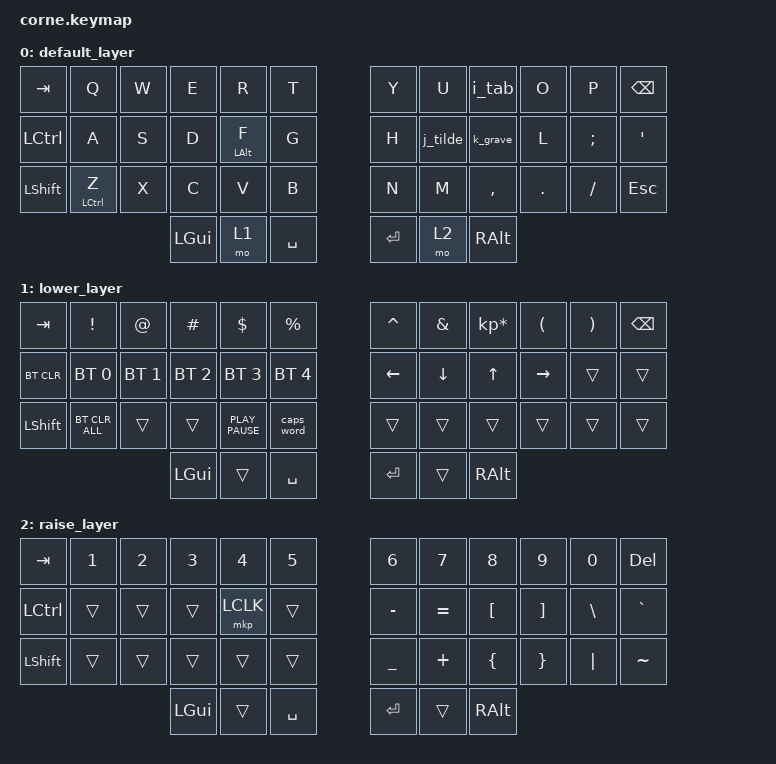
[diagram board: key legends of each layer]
/*
 * Copyright (c) 2020 The ZMK Contributors
 *
 * SPDX-License-Identifier: MIT
 */

#include <behaviors.dtsi>
#include <dt-bindings/zmk/bt.h>
#include <dt-bindings/zmk/keys.h>
#include <dt-bindings/zmk/pointing.h>

/ {
    behaviors {
        CtrlZ: CtrlZ {
            compatible = "zmk,behavior-hold-tap";
            label = "CTRLZ";
            bindings = <&kp>, <&kp>;

            #binding-cells = <2>;
            tapping-term-ms = <175>;
            flavor = "tap-preferred";
        };

        AltF: AltF {
            compatible = "zmk,behavior-hold-tap";
            label = "ALTF";
            bindings = <&kp>, <&kp>;

            #binding-cells = <2>;
            tapping-term-ms = <175>;
            flavor = "tap-preferred";
        };

        j_tilde: j_tilde {
            compatible = "zmk,behavior-mod-morph";
            #binding-cells = <0>;
            bindings = <&kp J>, <&kp TILDE>;

            mods = <(MOD_LALT)>;
            keep-mods = <(MOD_LALT)>;
        };

        i_tab: i_tab {
            compatible = "zmk,behavior-mod-morph";
            #binding-cells = <0>;
            bindings = <&kp I>, <&kp TAB>;

            mods = <(MOD_LALT)>;
            keep-mods = <(MOD_LALT)>;
            label = "I_TAB";
        };

        k_grave: k_grave {
            compatible = "zmk,behavior-mod-morph";
            #binding-cells = <0>;
            bindings = <&kp K>, <&kp GRAVE>;

            label = "K_GRAVE";
            mods = <(MOD_LALT)>;
            keep-mods = <(MOD_LALT)>;
        };
    };

    combos {
        compatible = "zmk,combos";

        AltCtrlDel {
            bindings = <&kp LA(LC(DEL))>;
            key-positions = <41 40 39>;
        };
    };

    keymap {
        compatible = "zmk,keymap";

        default_layer {
            // -----------------------------------------------------------------------------------------
            // |  TAB |  Q  |  W  |  E  |  R  |  T  |   |  Y  |  U   |  I  |  O  |  P  | BKSP |
            // | CTRL |  A  |  S  |  D  |  F  |  G  |   |  H  |  J   |  K  |  L  |  ;  |  '   |
            // | SHFT |  Z  |  X  |  C  |  V  |  B  |   |  N  |  M   |  ,  |  .  |  /  | ESC  |
            //                    | GUI | LWR | SPC |   | ENT | RSE  | ALT |

            bindings = <
&kp TAB    &kp Q           &kp W  &kp E     &kp R             &kp T        &kp Y    &kp U     &i_tab     &kp O    &kp P     &kp BSPC
&kp LCTRL  &kp A           &kp S  &kp D     &AltF LEFT_ALT F  &kp G        &kp H    &j_tilde  &k_grave   &kp L    &kp SEMI  &kp SQT
&kp LSHFT  &CtrlZ LCTRL Z  &kp X  &kp C     &kp V             &kp B        &kp N    &kp M     &kp COMMA  &kp DOT  &kp FSLH  &kp ESC
                                  &kp LGUI  &mo 1             &kp SPACE    &kp RET  &mo 2     &kp RALT
            >;
        };

        lower_layer {
            // -----------------------------------------------------------------------------------------
            // |  TAB |  !  |  @  |  #  |  $  |  %  |   |  ^  |  &  |  *  |  (  |  )  | BKSP |
            // | BTCLR| BT1 | BT2 | BT3 | BT4 | BT5 |   | LFT | DWN |  UP | RGT |     |      |
            // | SHFT |     |     |     |     |     |   |     |     |     |     |     |      |
            //                    | GUI |     | SPC |   | ENT |     | ALT |

            bindings = <
&kp TAB     &kp EXCL        &kp AT        &kp HASH      &kp DLLR          &kp PRCNT       &kp CARET  &kp AMPS  &kp KP_MULTIPLY  &kp LPAR   &kp RPAR  &kp BSPC
&bt BT_CLR  &bt BT_SEL 0    &bt BT_SEL 1  &bt BT_SEL 2  &bt BT_SEL 3      &bt BT_SEL 4    &kp LEFT   &kp DOWN  &kp UP           &kp RIGHT  &trans    &trans
&kp LSHFT   &bt BT_CLR_ALL  &trans        &trans        &kp K_PLAY_PAUSE  &caps_word      &trans     &trans    &trans           &trans     &trans    &trans
                                          &kp LGUI      &trans            &kp SPACE       &kp RET    &trans    &kp RALT
            >;
        };

        raise_layer {
            // -----------------------------------------------------------------------------------------
            // |  TAB |  1  |  2  |  3  |  4  |  5  |   |  6  |  7  |  8  |  9  |  0  | BKSP |
            // | CTRL |     |     |     |     |     |   |  -  |  =  |  [  |  ]  |  \  |  `   |
            // | SHFT |     |     |     |     |     |   |  _  |  +  |  {  |  }  | "|" |  ~   |
            //                    | GUI |     | SPC |   | ENT |     | ALT |

            bindings = <
&kp TAB    &kp N1  &kp N2  &kp N3    &kp N4     &kp N5       &kp N6     &kp N7     &kp N8    &kp N9    &kp N0    &kp DELETE
&kp LCTRL  &trans  &trans  &trans    &mkp LCLK  &trans       &kp MINUS  &kp EQUAL  &kp LBKT  &kp RBKT  &kp BSLH  &kp GRAVE
&kp LSHFT  &trans  &trans  &trans    &trans     &trans       &kp UNDER  &kp PLUS   &kp LBRC  &kp RBRC  &kp PIPE  &kp TILDE
                           &kp LGUI  &trans     &kp SPACE    &kp RET    &trans     &kp RALT
            >;
        };
    };
};
